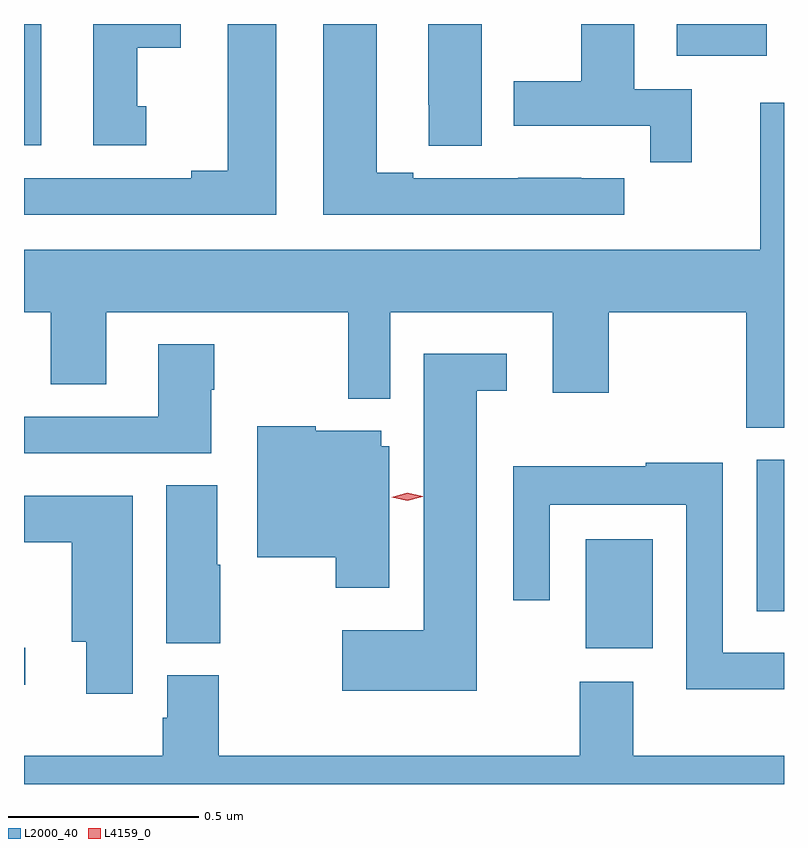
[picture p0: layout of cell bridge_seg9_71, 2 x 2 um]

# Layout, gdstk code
import gdstk
lib = gdstk.Library(unit=1e-6, precision=1e-09)
def R(c, l, rs):  # rectangles x0, y0, x1, y1
    for r in rs: c.add(gdstk.rectangle(r[:2], r[2:], *l))
def P(c, l, *ps):  # polygons
    for p in ps: c.add(gdstk.Polygon(p, *l))
L2000_40 = (2000, 40)
L4159_0 = (4159, 0)

bridge_seg9_71 = lib.new_cell('bridge_seg9_71')
R(bridge_seg9_71, L2000_40, [(1032.552,1215.419,1032.555,1215.516), (1034.03,1215.515,1034.206,1215.802), (1034.48,1215.612,1034.552,1216.011), (1032.552,1216.839,1032.598,1217.158), (1034.27,1217.075,1034.506,1217.158)])
P(bridge_seg9_71, L2000_40, [(1033.216,1217.158),(1033.088,1217.158),(1033.088,1216.772),(1032.992,1216.772),(1032.992,1216.752),(1032.552,1216.752),(1032.552,1216.656),(1033.216,1216.656)],
  [(1033.756,1217.158),(1033.616,1217.158),(1033.616,1216.945),(1033.617,1216.945),(1033.617,1216.837),(1033.756,1216.837)],
  [(1034.309,1216.986),(1034.158,1216.986),(1034.158,1217.158),(1034.018,1217.158),(1034.018,1217.007),(1033.841,1217.007),(1033.841,1216.89),(1034.2,1216.89),(1034.2,1216.794),(1034.309,1216.794)],
  [(1034.131,1216.752),(1034.018,1216.752),(1034.018,1216.753),(1033.852,1216.753),(1033.852,1216.752),(1033.576,1216.752),(1033.576,1216.767),(1033.48,1216.767),(1033.48,1217.158),(1033.34,1217.158),(1033.34,1216.656),(1034.131,1216.656)],
  [(1032.874,1216.941),(1032.85,1216.941),(1032.85,1217.096),(1032.964,1217.096),(1032.964,1217.158),(1032.734,1217.158),(1032.734,1216.839),(1032.874,1216.839)],
  [(1034.552,1216.951),(1034.489,1216.951),(1034.489,1216.564),(1032.552,1216.564),(1032.552,1216.4),(1032.622,1216.4),(1032.622,1216.21),(1032.769,1216.21),(1032.769,1216.4),(1033.405,1216.4),(1033.405,1216.172),(1033.516,1216.172),(1033.516,1216.4),(1033.943,1216.4),(1033.943,1216.188),(1034.091,1216.188),(1034.091,1216.4),(1034.452,1216.4),(1034.452,1216.096),(1034.552,1216.096)],
  [(1033.045,1216.195),(1033.053,1216.195),(1033.053,1216.315),(1032.905,1216.315),(1032.905,1216.125),(1032.552,1216.125),(1032.552,1216.029),(1033.045,1216.029)],
  [(1033.744,1216.193),(1033.822,1216.193),(1033.822,1216.29),(1033.604,1216.29),(1033.604,1215.562),(1033.389,1215.562),(1033.389,1215.404),(1033.744,1215.404)],
  [(1033.513,1216.047),(1033.492,1216.047),(1033.492,1216.087),(1033.32,1216.087),(1033.32,1216.099),(1033.166,1216.099),(1033.166,1215.755),(1033.372,1215.755),(1033.372,1215.675),(1033.513,1215.675)],
  [(1034.552,1215.504),(1034.391,1215.504),(1034.391,1216.004),(1034.188,1216.004),(1034.188,1215.994),(1033.839,1215.994),(1033.839,1215.642),(1033.935,1215.642),(1033.935,1215.893),(1034.295,1215.893),(1034.295,1215.407),(1034.552,1215.407)],
  [(1033.068,1215.735),(1033.06,1215.735),(1033.06,1215.944),(1032.926,1215.944),(1032.926,1215.529),(1033.068,1215.529)],
  [(1032.838,1215.916),(1032.552,1215.916),(1032.552,1215.794),(1032.677,1215.794),(1032.677,1215.533),(1032.716,1215.533),(1032.716,1215.396),(1032.838,1215.396)],
  [(1034.552,1215.232),(1034.155,1215.232),(1034.155,1215.427),(1034.015,1215.427),(1034.015,1215.232),(1033.065,1215.232),(1033.065,1215.444),(1032.929,1215.444),(1032.929,1215.333),(1032.917,1215.333),(1032.917,1215.232),(1032.552,1215.232),(1032.552,1215.158),(1034.552,1215.158)])
P(bridge_seg9_71, L4159_0, [(1033.561,1215.904),(1033.52,1215.913),(1033.52,1215.913),(1033.52,1215.913),(1033.56,1215.924),(1033.601,1215.915),(1033.601,1215.914),(1033.601,1215.914)])

lib.write_gds('bridge_seg9_71.gds')
